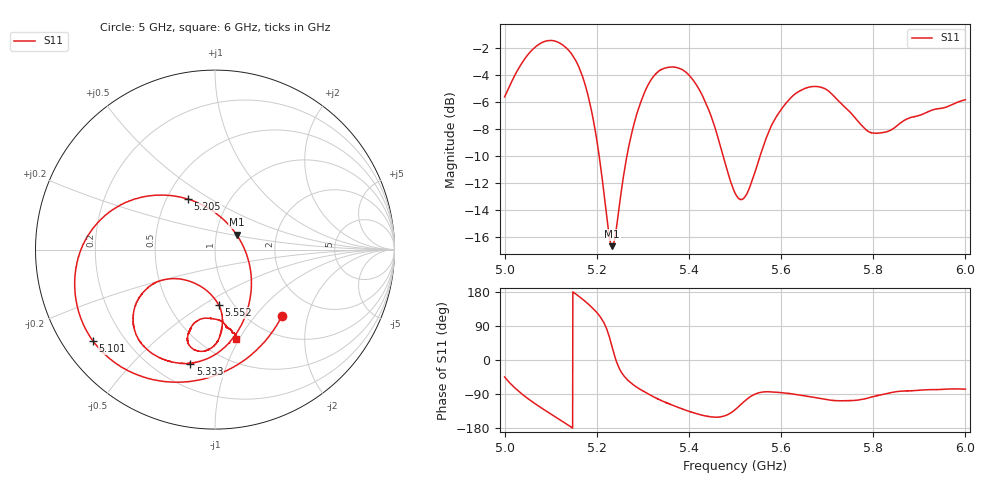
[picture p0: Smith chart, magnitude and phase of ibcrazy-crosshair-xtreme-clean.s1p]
# HZ S RI R 50
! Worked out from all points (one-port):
!   2020 points, 5 GHz to 6 GHz, reference 50 ohm
!   lowest |S11| = -16.7 dB at 5.233 GHz (marker M1), VSWR 1.34, Z = 62.7 + j10.7 ohm
!   |S11| at or under -10 dB: 5.205 GHz to 5.265 GHz (60.17 MHz wide, 1.15 % of centre); 5.474 GHz to 5.554 GHz (80.2 MHz wide, 1.45 % of centre)
!   S11 on the Smith chart (normalised r, x): 5 GHz: 1.37, -1.39; 5.101 GHz: 0.09, -0.33; 5.205 GHz: 0.64, +0.40; 5.333 GHz: 0.34, -0.75; 5.552 GHz: 0.86, -0.58; 6 GHz: 0.72, -0.97
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5e9  0.3727 -0.3688
5.026746e9  0.1279 -0.6394
5.05052e9  -0.1547 -0.736
5.075285e9  -0.4456 -0.6922
5.10104e9  -0.679 -0.5106
5.12531e9  -0.7776 -0.2563
5.149084e9  -0.741 0.0133
5.172858e9  -0.5481 0.2356
5.188707e9  -0.3543 0.3005
5.205052e9  -0.1492 0.2809
5.225359e9  0.0604 0.1553
5.233284e9  0.1203 0.0832
5.250124e9  0.1936 -0.0905
5.285785e9  0.1464 -0.4214
5.311045e9  0.00932 -0.5791
5.332838e9  -0.1366 -0.6359
5.375434e9  -0.3801 -0.5551
5.42744e9  -0.4414 -0.3069
5.464091e9  -0.318 -0.1782
5.500248e9  -0.1517 -0.1732
5.522041e9  -0.066 -0.2133
5.552254e9  0.0199 -0.3071
5.625062e9  0.000392 -0.5281
5.680535e9  -0.1043 -0.5625
5.750372e9  -0.1313 -0.44
5.800892e9  -0.0422 -0.3824
5.875186e9  0.062 -0.4309
6.000001e9  0.1165 -0.4983
